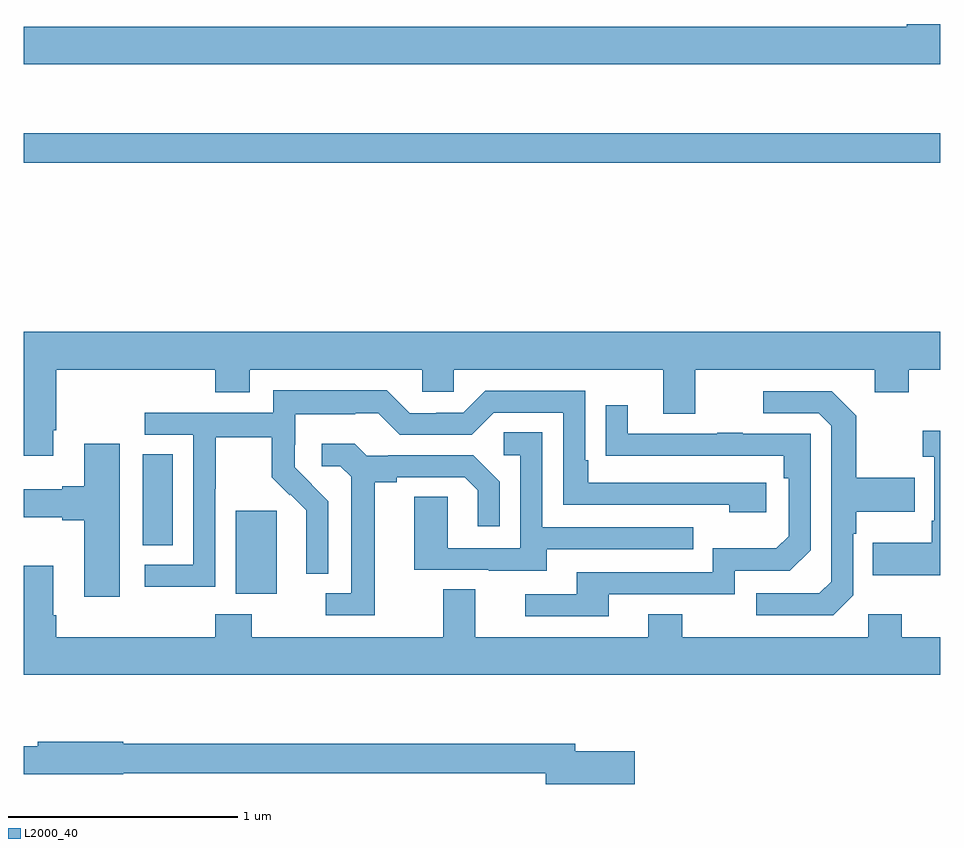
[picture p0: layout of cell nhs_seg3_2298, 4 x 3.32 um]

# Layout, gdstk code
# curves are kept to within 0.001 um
import gdstk
lib = gdstk.Library(unit=1e-6, precision=1e-09)
def R(c, l, rs):  # rectangles x0, y0, x1, y1
    for r in rs: c.add(gdstk.rectangle(r[:2], r[2:], *l))
def P(c, l, *ps):  # polygons
    for p in ps: c.add(gdstk.Polygon(p, *l))
L2000_40 = (2000, 40)

nhs_seg3_2298 = lib.new_cell('nhs_seg3_2298')
R(nhs_seg3_2298, L2000_40, [(229.925,723.914,230.104,724.275), (229.52,724.126,229.651,724.523), (229,725.794,233,725.923)])
P(nhs_seg3_2298, L2000_40, [(233,726.4),(232.853,726.4),(232.853,726.388),(229,726.388),(229,726.224),(233,726.224)],
  [(229.129,724.627),(229.142,724.627),(229.142,724.892),(229.835,724.892),(229.835,724.793),(229.987,724.793),(229.987,724.892),(230.739,724.892),(230.739,724.794),(230.877,724.794),(230.877,724.892),(231.791,724.892),(231.791,724.698),(231.931,724.698),(231.931,724.892),(232.715,724.892),(232.715,724.793),(232.863,724.793),(232.863,724.892),(233,724.892),(233,725.056),(229,725.056),(229,724.515),(229.129,724.515)],
  [(229.836,724.372),(229.839,724.372),(229.839,724.596),(230.083,724.596),(230.083,724.421),(230.16,724.344),(230.163,724.347),(230.234,724.277),(230.234,724.154),(230.232,724.154),(230.232,724),(230.328,724),(230.328,724.318),(230.182,724.466),(230.182,724.563),(230.184,724.563),(230.184,724.697),(230.447,724.697),(230.447,724.701),(230.547,724.701),(230.64,724.608),(230.955,724.608),(231.051,724.704),(231.354,724.704),(231.354,724.302),(232.079,724.302),(232.079,724.268),(232.24,724.268),(232.24,724.398),(231.463,724.398),(231.463,724.495),(231.45,724.495),(231.45,724.8),(231.015,724.8),(230.919,724.704),(230.801,724.704),(230.801,724.701),(230.685,724.701),(230.585,724.801),(230.088,724.801),(230.088,724.704),(229.527,724.704),(229.527,724.608),(229.74,724.608),(229.74,724.041),(229.527,724.041),(229.527,723.943),(229.836,723.943)],
  [(232.62,723.906),(232.62,724.175),(232.633,724.175),(232.633,724.271),(232.889,724.271),(232.889,724.419),(232.633,724.419),(232.633,724.691),(232.527,724.797),(232.227,724.797),(232.227,724.701),(232.47,724.701),(232.524,724.647),(232.524,723.966),(232.473,723.915),(232.197,723.915),(232.197,723.819),(232.533,723.819)],
  [(231.553,723.912),(232.104,723.912),(232.104,724.014),(232.344,724.014),(232.434,724.104),(232.434,724.611),(232.139,724.611),(232.139,724.616),(232.027,724.616),(232.027,724.611),(231.637,724.611),(231.637,724.735),(231.541,724.735),(231.541,724.516),(232.318,724.515),(232.318,724.418),(232.338,724.418),(232.338,724.164),(232.285,724.111),(232.008,724.111),(232.008,724.008),(231.413,724.008),(231.413,723.912),(231.189,723.912),(231.189,723.816),(231.553,723.816)],
  [(233,724.624),(232.923,724.624),(232.923,724.511),(232.974,724.511),(232.974,724.231),(232.962,724.231),(232.962,724.135),(232.705,724.135),(232.705,723.995),(233,723.995)],
  [(231.283,724.107),(231.923,724.107),(231.923,724.203),(231.264,724.203),(231.264,724.619),(231.096,724.619),(231.096,724.518),(231.168,724.518),(231.168,724.113),(230.85,724.113),(230.85,724.337),(230.705,724.337),(230.705,724.017),(231.029,724.017),(231.029,724.013),(231.283,724.013)],
  [(229.42,724.567),(229.265,724.567),(229.265,724.382),(229.169,724.382),(229.169,724.369),(229,724.369),(229,724.247),(229.169,724.247),(229.169,724.235),(229.265,724.235),(229.265,723.9),(229.42,723.9)],
  [(230.533,724.4),(230.629,724.4),(230.629,724.422),(230.924,724.422),(230.981,724.365),(230.981,724.209),(231.078,724.209),(231.078,724.402),(230.962,724.518),(230.59,724.518),(230.59,724.515),(230.496,724.515),(230.444,724.567),(230.301,724.567),(230.301,724.47),(230.382,724.47),(230.429,724.423),(230.429,723.915),(230.319,723.915),(230.319,723.819),(230.533,723.819)],
  [(233,723.724),(232.833,723.724),(232.833,723.823),(232.686,723.823),(232.686,723.724),(231.873,723.724),(231.873,723.823),(231.725,723.823),(231.725,723.724),(230.971,723.724),(230.971,723.932),(230.831,723.932),(230.831,723.724),(229.995,723.724),(229.995,723.823),(229.835,723.823),(229.835,723.724),(229.142,723.724),(229.142,723.82),(229.129,723.82),(229.129,724.036),(229,724.036),(229,723.56),(233,723.56)],
  [(231.667,723.225),(231.406,723.225),(231.406,723.259),(229.434,723.259),(229.434,723.267),(229.062,723.267),(229.062,723.247),(229,723.247),(229,723.125),(229.434,723.125),(229.434,723.13),(231.278,723.13),(231.278,723.083),(231.667,723.083)])

lib.write_gds('nhs_seg3_2298.gds')
